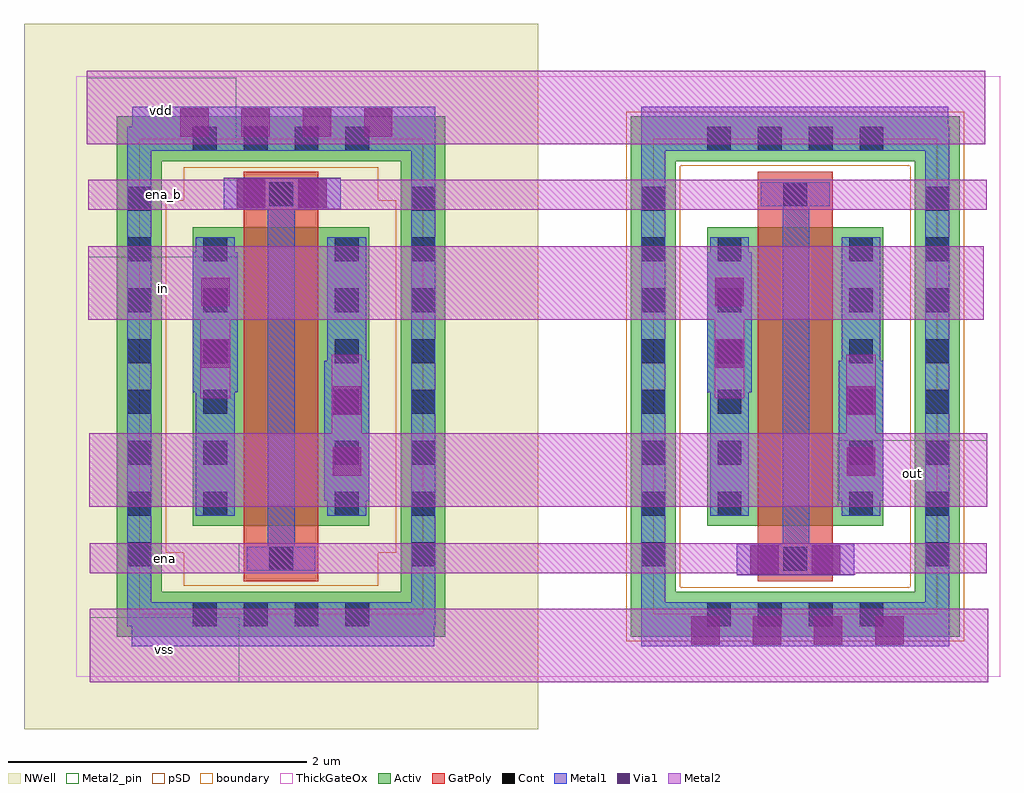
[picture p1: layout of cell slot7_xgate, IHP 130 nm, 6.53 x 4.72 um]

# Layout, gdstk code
import gdstk
lib = gdstk.Library(unit=1e-6, precision=1e-09)
def R(c, l, rs):  # rectangles x0, y0, x1, y1
    for r in rs: c.add(gdstk.rectangle(r[:2], r[2:], *l))
def A(c, l, x, y, w, h, nx, ny, dx, dy):  # array of equal rectangles
    R(c, l, [(x+i*dx, y+j*dy, x+i*dx+w, y+j*dy+h) for i in range(nx) for j in range(ny)])
Activ = (1, 0)
GatPoly = (5, 0)
Cont = (6, 0)
Metal1 = (8, 0)
Metal2 = (10, 0)
Metal2_pin = (10, 2)
pSD = (14, 0)
Via1 = (19, 0)
NWell = (31, 0)
ThickGateOx = (44, 0)
boundary = (189, 4)

slot7_via_y6zg8n = lib.new_cell('slot7_via_Y6ZG8N')
R(slot7_via_y6zg8n, Metal1, [(-0.865,-0.105,0.865,0.105)])
R(slot7_via_y6zg8n, Metal2, [(-0.82,-0.145,0.82,0.145)])
A(slot7_via_y6zg8n, Via1, -0.71, -0.095, 0.19, 0.19, 4, 1, 0.41, 0)

slot7_sg13_hv_pmos_xlvyt = lib.new_cell('slot7_sg13_hv_pmos_XLVYT6')
R(slot7_sg13_hv_pmos_xlvyt, Activ, [(-1.1,-1.74,1.1,-1.44), (-1.1,-1.44,-0.8,1.44), (0.8,-1.44,1.1,1.44), (-0.59,-1,0.59,1), (-1.1,1.44,1.1,1.74)])
R(slot7_sg13_hv_pmos_xlvyt, GatPoly, [(-0.25,-1.37,0.25,1.37)])
A(slot7_sg13_hv_pmos_xlvyt, Cont, -0.59, -1.67, 0.16, 0.16, 4, 2, 0.34, 3.18)
A(slot7_sg13_hv_pmos_xlvyt, Cont, -1.03, -1.27, 0.16, 0.16, 1, 8, 0, 0.34)
A(slot7_sg13_hv_pmos_xlvyt, Cont, 0.87, -1.27, 0.16, 0.16, 1, 8, 0, 0.34)
A(slot7_sg13_hv_pmos_xlvyt, Cont, -0.52, -0.93, 0.16, 0.16, 1, 6, 0, 0.34)
A(slot7_sg13_hv_pmos_xlvyt, Cont, 0.36, -0.93, 0.16, 0.16, 1, 6, 0, 0.34)
R(slot7_sg13_hv_pmos_xlvyt, Cont, [(-0.08,-1.3,0.08,-1.14), (-0.08,1.14,0.08,1.3)])
R(slot7_sg13_hv_pmos_xlvyt, Metal1, [(-1.03,-1.67,1.03,-1.51), (-1.03,-1.51,-0.87,1.51), (0.87,-1.51,1.03,1.51), (-0.23,-1.3,0.23,-1.14), (-0.57,-0.93,-0.31,-0.105), (0.31,-0.93,0.57,-0.83), (0.29,-0.83,0.59,0.105), (-0.59,-0.105,-0.29,0.83), (0.31,0.105,0.57,0.93), (-0.57,0.83,-0.31,0.93), (-0.23,1.14,0.23,1.3), (-1.03,1.51,1.03,1.67)])
R(slot7_sg13_hv_pmos_xlvyt, Metal2, [(0.34,-0.87,0.54,0.145), (-0.54,-0.145,-0.34,0.87)])
R(slot7_sg13_hv_pmos_xlvyt, pSD, [(-0.65,-1.4,0.65,-1.18), (-0.77,-1.18,0.77,1.18), (-0.65,1.18,0.65,1.4)])
R(slot7_sg13_hv_pmos_xlvyt, Via1, [(0.345,-0.665,0.535,-0.475), (0.345,-0.255,0.535,-0.065), (-0.535,0.06,-0.345,0.25), (-0.535,0.47,-0.345,0.66)])
R(slot7_sg13_hv_pmos_xlvyt, NWell, [(-1.72,-2.36,1.72,2.36)])
R(slot7_sg13_hv_pmos_xlvyt, ThickGateOx, [(-1.37,-2.01,1.37,2.01)])
R(slot7_sg13_hv_pmos_xlvyt, boundary, [(-0.95,-1.59,0.95,1.59)])
slot7_sg13_hv_pmos_xlvyt.add(gdstk.Label('B', (0,-1.59), layer=8, texttype=25))
slot7_sg13_hv_pmos_xlvyt.add(gdstk.Label('D', (-0.44,0), layer=8, texttype=25))
slot7_sg13_hv_pmos_xlvyt.add(gdstk.Label('S', (0.44,0), layer=8, texttype=25))
slot7_sg13_hv_pmos_xlvyt.add(gdstk.Label('G', (0,1.22), layer=8, texttype=25))

slot7_sg13_hv_nmos_mrznp = lib.new_cell('slot7_sg13_hv_nmos_MRZNPN')
R(slot7_sg13_hv_nmos_mrznp, Activ, [(-1.1,-1.74,1.1,-1.44), (-1.1,-1.44,-0.8,1.44), (0.8,-1.44,1.1,1.44), (-0.59,-1,0.59,1), (-1.1,1.44,1.1,1.74)])
R(slot7_sg13_hv_nmos_mrznp, GatPoly, [(-0.25,-1.37,0.25,1.37)])
A(slot7_sg13_hv_nmos_mrznp, Cont, -0.59, -1.67, 0.16, 0.16, 4, 2, 0.34, 3.18)
A(slot7_sg13_hv_nmos_mrznp, Cont, -1.03, -1.27, 0.16, 0.16, 1, 8, 0, 0.34)
A(slot7_sg13_hv_nmos_mrznp, Cont, 0.87, -1.27, 0.16, 0.16, 1, 8, 0, 0.34)
A(slot7_sg13_hv_nmos_mrznp, Cont, -0.52, -0.93, 0.16, 0.16, 1, 6, 0, 0.34)
A(slot7_sg13_hv_nmos_mrznp, Cont, 0.36, -0.93, 0.16, 0.16, 1, 6, 0, 0.34)
R(slot7_sg13_hv_nmos_mrznp, Cont, [(-0.08,-1.3,0.08,-1.14), (-0.08,1.14,0.08,1.3)])
R(slot7_sg13_hv_nmos_mrznp, Metal1, [(-1.03,-1.67,1.03,-1.51), (-1.03,-1.51,-0.87,1.51), (0.87,-1.51,1.03,1.51), (-0.23,-1.3,0.23,-1.14), (-0.57,-0.93,-0.31,-0.105), (0.31,-0.93,0.57,-0.83), (0.29,-0.83,0.59,0.105), (-0.59,-0.105,-0.29,0.83), (0.31,0.105,0.57,0.93), (-0.57,0.83,-0.31,0.93), (-0.23,1.14,0.23,1.3), (-1.03,1.51,1.03,1.67)])
R(slot7_sg13_hv_nmos_mrznp, Metal2, [(0.34,-0.87,0.54,0.145), (-0.54,-0.145,-0.34,0.87)])
R(slot7_sg13_hv_nmos_mrznp, pSD, [(-1.13,-1.77,1.13,-1.41), (-1.13,-1.41,-0.77,1.41), (0.77,-1.41,1.13,1.41), (-1.13,1.41,1.13,1.77)])
R(slot7_sg13_hv_nmos_mrznp, Via1, [(0.345,-0.665,0.535,-0.475), (0.345,-0.255,0.535,-0.065), (-0.535,0.06,-0.345,0.25), (-0.535,0.47,-0.345,0.66)])
R(slot7_sg13_hv_nmos_mrznp, ThickGateOx, [(-1.37,-2.01,1.37,2.01)])
R(slot7_sg13_hv_nmos_mrznp, boundary, [(-0.95,-1.59,0.95,1.59)])
slot7_sg13_hv_nmos_mrznp.add(gdstk.Label('B', (0,-1.59), layer=8, texttype=25))
slot7_sg13_hv_nmos_mrznp.add(gdstk.Label('D', (-0.44,0), layer=8, texttype=25))
slot7_sg13_hv_nmos_mrznp.add(gdstk.Label('S', (0.44,0), layer=8, texttype=25))
slot7_sg13_hv_nmos_mrznp.add(gdstk.Label('G', (0,1.22), layer=8, texttype=25))

slot7_xgate = lib.new_cell('slot7_xgate')
R(slot7_xgate, Metal1, [(2.83,-4.815,4.855,-4.52), (6.24,-4.815,8.3,-4.52), (6.88,-4.34,7.665,-4.13), (3.74,-4.285,3.92,-1.89), (7.185,-4.13,7.365,-1.735), (3.445,-1.89,4.23,-1.68), (2.835,-1.5,4.86,-1.205), (6.24,-1.5,8.295,-1.205)])
R(slot7_xgate, Metal2, [(2.55,-5.055,8.56,-4.565), (6.88,-4.335,7.67,-4.325), (2.55,-4.325,8.55,-4.125), (2.545,-3.88,8.555,-3.39), (2.54,-2.63,8.53,-2.14), (2.54,-1.895,8.55,-1.695), (3.445,-1.695,4.23,-1.685), (2.53,-1.455,8.54,-0.965)])
R(slot7_xgate, Metal2_pin, [(2.55,-5.055,3.55,-4.62), (2.55,-4.325,3.55,-4.125), (7.555,-3.88,8.555,-3.435), (2.54,-2.63,3.54,-2.21), (2.54,-1.895,3.54,-1.695), (2.53,-1.455,3.53,-1.01)])
R(slot7_xgate, Via1, [(6.97,-4.33,7.16,-4.14), (7.38,-4.33,7.57,-4.14), (3.535,-1.88,3.725,-1.69), (3.945,-1.88,4.135,-1.69)])
R(slot7_xgate, ThickGateOx, [(5.2,-5.02,5.9,-1)])
slot7_xgate.add(gdstk.Reference(slot7_via_y6zg8n, (7.285,-4.71)))
slot7_xgate.add(gdstk.Reference(slot7_via_y6zg8n, (3.865,-1.31)))
slot7_xgate.add(gdstk.Reference(slot7_sg13_hv_pmos_xlvyt, (3.83,-3.01)))
slot7_xgate.add(gdstk.Reference(slot7_sg13_hv_nmos_mrznp, (7.27,-3.01)))
slot7_xgate.add(gdstk.Label('ena_b', (3.04,-1.795), layer=10, texttype=25))
slot7_xgate.add(gdstk.Label('vdd', (3.03,-1.232), layer=10, texttype=25))
slot7_xgate.add(gdstk.Label('in', (3.04,-2.42), layer=10, texttype=25))
slot7_xgate.add(gdstk.Label('out', (8.055,-3.657), layer=10, texttype=25))
slot7_xgate.add(gdstk.Label('vss', (3.05,-4.837), layer=10, texttype=25))
slot7_xgate.add(gdstk.Label('ena', (3.05,-4.225), layer=10, texttype=25))

lib.write_gds('slot7_xgate.gds')
